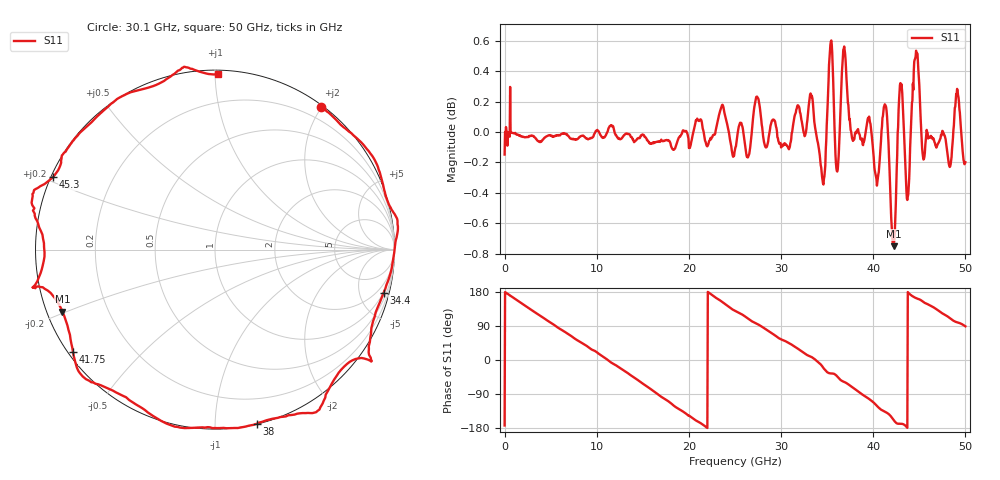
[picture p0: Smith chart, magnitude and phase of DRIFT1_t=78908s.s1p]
!Created with skrf (http://scikit-rf.org).
# Hz S RI R 50.0
!freq ReS11 ImS11
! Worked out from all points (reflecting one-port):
!   1001 points, 300 kHz to 50 GHz, reference 50 ohm
!   lowest |S11| = -0.8 dB at 42.2 GHz (marker M1), VSWR 23.16, Z = 2.24 - j9.75 ohm
!   phase of S11 starts at -173 deg and turns -818 deg over the sweep
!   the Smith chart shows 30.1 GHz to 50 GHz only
!   S11 on the Smith chart (normalised r, x): 30.1 GHz: 0.03, +1.99; 34.4 GHz: 0.97, -7.82; 38 GHz: 0.00, -1.27; 41.75 GHz: 0.01, -0.32; 45.3 GHz: 0.01, +0.21; 50 GHz: 0.02, +1.02
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300000  -0.9754 -0.1223
1.450291e9  -0.9124 0.4038
3.25028e9  -0.5931 0.8002
6.250262e9  0.1986 0.9788
9.500243e9  0.8874 0.4517
1.250022e10  0.9305 -0.352
1.580021e10  0.2427 -0.9609
1.73502e10  -0.2109 -0.9707
1.875019e10  -0.5986 -0.7923
2.160017e10  -0.9903 -0.1379
2.345016e10  -0.9304 0.4117
2.500015e10  -0.6282 0.7612
2.745014e10  -0.0838 1.023
3.010012e10  0.5902 0.7939
3.125011e10  0.7816 0.6282
3.32001e10  1.016 0.1635
3.440009e10  0.9394 -0.2404
3.520009e10  0.8648 -0.5984
3.750008e10  0.3793 -0.9313
3.800007e10  0.2321 -0.9703
3.965006e10  -0.2546 -0.9745
4.175005e10  -0.7915 -0.5695
4.220005e10  -0.8498 -0.3451
4.290004e10  -1.015 -0.2111
4.375004e10  -0.9522 0.0108
4.530003e10  -0.9013 0.4052
4.765001e10  -0.5137 0.8566
5e10  0.0189 0.9771
